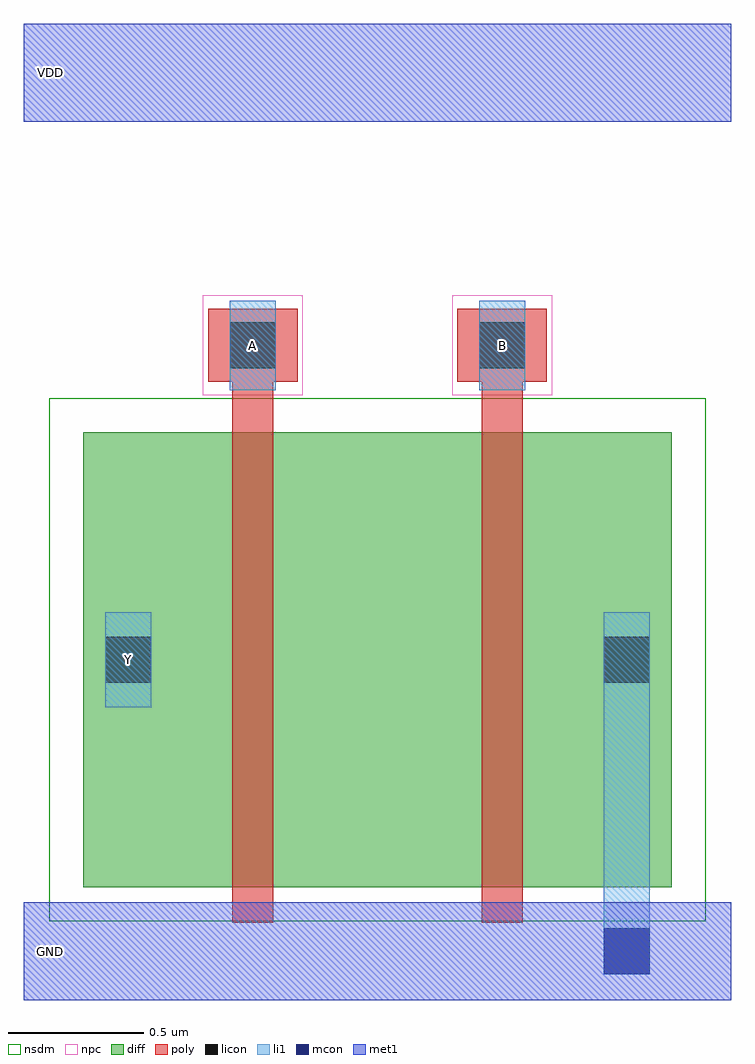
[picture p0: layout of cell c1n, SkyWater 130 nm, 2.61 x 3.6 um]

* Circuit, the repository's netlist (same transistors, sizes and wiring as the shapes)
* NGSPICE file created from c1n.ext - technology: sky130A

.subckt c1n A B Y VDD GND
X0 GND B a_184_47# VSUBS sky130_fd_pr__nfet_01v8 ad=0.924 pd=4.46 as=0.6468 ps=2.45 w=1.68 l=0.15
X1 a_184_47# A Y VSUBS sky130_fd_pr__nfet_01v8 ad=0.6468 pd=2.45 as=0.924 ps=4.46 w=1.68 l=0.15
.ends

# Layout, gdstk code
import gdstk
lib = gdstk.Library(unit=1e-6, precision=1e-09)
def R(c, l, rs):  # rectangles x0, y0, x1, y1
    for r in rs: c.add(gdstk.rectangle(r[:2], r[2:], *l))
diff = (65, 20)
poly = (66, 20)
licon = (66, 44)
li1 = (67, 20)
mcon = (67, 44)
met1 = (68, 20)
nsdm = (93, 44)
npc = (95, 20)

c1n = lib.new_cell('c1n')
R(c1n, diff, [(0.22,0.235,2.39,1.915)])
R(c1n, poly, [(0.77,0.105,0.92,2.1), (1.69,0.105,1.84,2.1), (0.68,2.1,1.01,2.37), (1.6,2.1,1.93,2.37)])
R(c1n, licon, [(0.3,0.99,0.47,1.16), (2.14,0.99,2.31,1.16), (0.76,2.15,0.93,2.32), (1.68,2.15,1.85,2.32)])
R(c1n, li1, [(2.14,-0.085,2.31,1.25), (0.3,0.9,0.47,1.25), (0.76,2.07,0.93,2.4), (1.68,2.07,1.85,2.4)])
R(c1n, mcon, [(2.14,-0.085,2.31,0.085)])
R(c1n, met1, [(0,-0.18,2.61,0.18), (0,3.06,2.61,3.42)])
R(c1n, nsdm, [(0.095,0.11,2.515,2.04)])
R(c1n, npc, [(0.66,2.05,1.03,2.42), (1.58,2.05,1.95,2.42)])
c1n.add(gdstk.Label('A', (0.845,2.235), layer=67, texttype=5))
c1n.add(gdstk.Label('B', (1.765,2.235), layer=67, texttype=5))
c1n.add(gdstk.Label('Y', (0.385,1.075), layer=67, texttype=5))
c1n.add(gdstk.Label('VDD', (0.1,3.24), layer=68, texttype=5))
c1n.add(gdstk.Label('GND', (0.1,0), layer=68, texttype=5))

lib.write_gds('c1n.gds')
